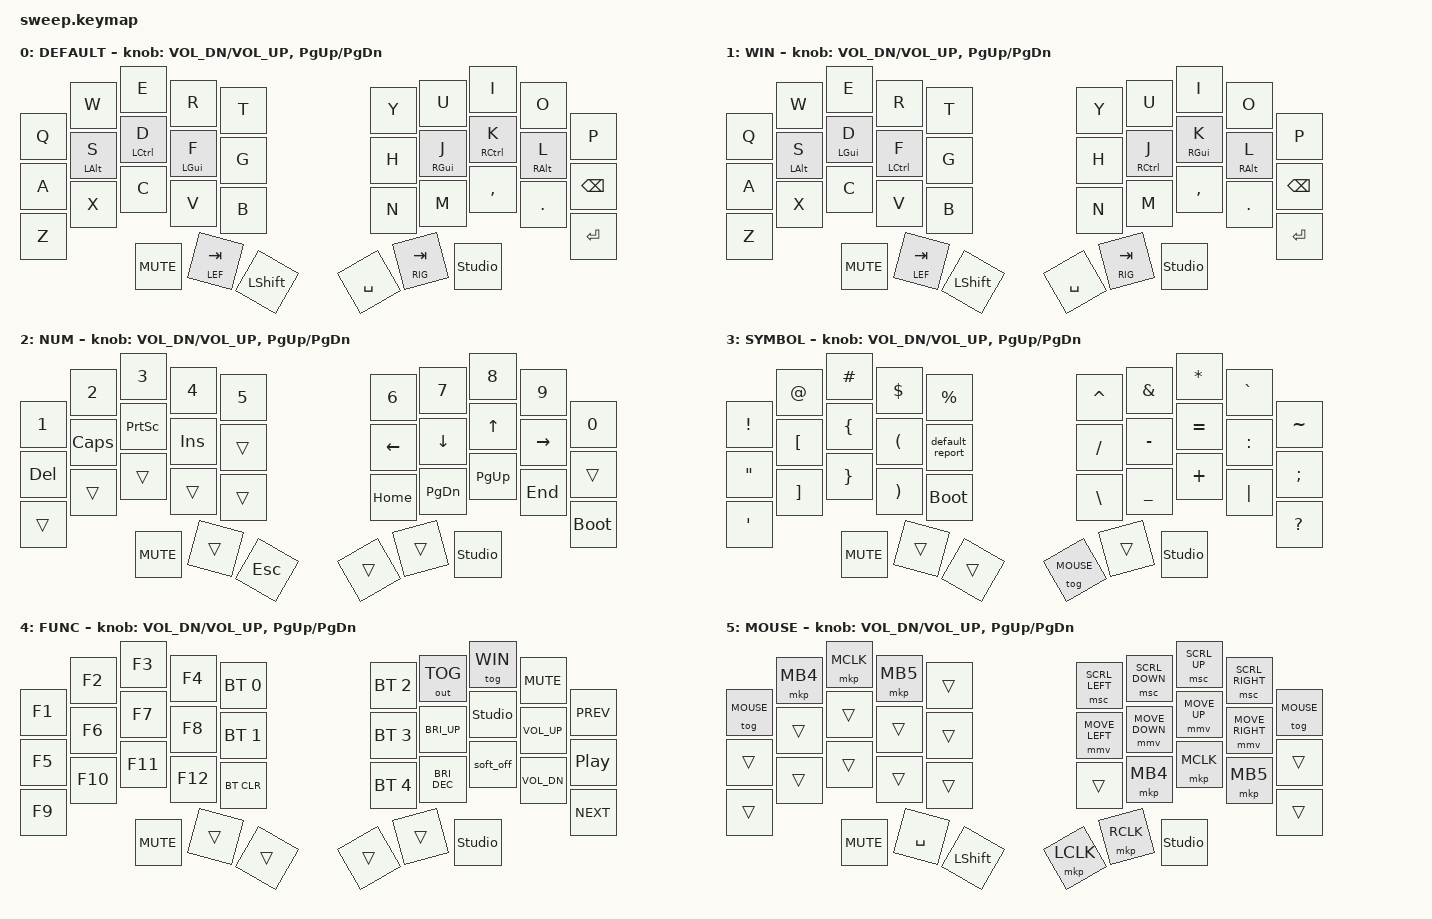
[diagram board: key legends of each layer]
// Copyright (c) 2022 The ZMK Contributors
// SPDX-License-Identifier: MIT
// #include <dt-bindings/zmk/rgb.h>

#define ZMK_POINTING_DEFAULT_MOVE_VAL 2500// 600
#define ZMK_POINTING_DEFAULT_SCRL_VAL 20// 10

#include <behaviors.dtsi>
#include <dt-bindings/zmk/bt.h>
#include <dt-bindings/zmk/keys.h>
#include <dt-bindings/zmk/outputs.h>
#include <dt-bindings/zmk/pointing.h>
#include "behaviors/character_map.dtsi"
#include "behaviors/report.dtsi"

#define MAC 0
#define WIN 1
#define RIG 2
#define LEF 3
#define TRI 4
#define MOUSE 5

&sensors {
	left_encoder {
		triggers-per-rotation = <15>;
	};
	right_encoder {
		triggers-per-rotation = <45>;
	};
};


/ {
	
	behaviors {
		ht: hold_tap {
			label = "hold_tap";
			compatible = "zmk,behavior-hold-tap";
			#binding-cells = <2>;
			flavor = "balanced";
			tapping-term-ms = <200>;
			quick-tap-ms = <150>;
			require-prior-idle-ms = <125>;
			global-quick-tap;
			bindings = <&kp>, <&kp>;
		};
		mmv {
			acceleration-exponent = <1>;// 1
			time-to-max-speed-ms = <300>;// 40
			delay-ms = <0>;// 0
		};
		msc {
			acceleration-exponent = <0>;// 0
			time-to-max-speed-ms = <40>;// 500
			delay-ms = <0>;// 10
		};
	};
	
	conditional_layers {
		compatible = "zmk,conditional-layers";
		
		tri_layer {
			if-layers = <RIG LEF>;
			then-layer = <TRI>;
		};
	};
	
	keymap {
		compatible = "zmk,keymap";
		
		default_layer {
			display-name = "DEFAULT";
			bindings = <
			&kp Q   &kp W       &kp E        &kp R        &kp T        &kp Y      &kp U        &kp I        &kp O       &kp P
			&kp A   &ht LALT S  &ht LCTRL D  &ht LGUI F   &kp G         &kp H      &ht RGUI J   &ht RCTRL K  &ht RALT L  &kp BSPC
			&kp Z   &kp X       &kp C        &kp V        &kp B         &kp N      &kp M        &kp COMMA    &kp DOT     &kp ENTER
			&kp C_MUTE  &lt LEF TAB  &kp LSHIFT    &kp SPACE  &lt RIG TAB   &studio_unlock
			>;
			sensor-bindings = <&inc_dec_kp C_VOL_DN C_VOL_UP &inc_dec_kp PG_UP PG_DN>;
		};
		
		windows_layer {
			display-name = "WIN";
			bindings = <
			&kp Q  &kp W       &kp E       &kp R        &kp T         &kp Y      &kp U        &kp I       &kp O       &kp P
			&kp A  &ht LALT S  &ht LGUI D  &ht LCTRL F  &kp G         &kp H      &ht RCTRL J  &ht RGUI K  &ht RALT L  &kp BSPC
			&kp Z  &kp X       &kp C       &kp V        &kp B         &kp N      &kp M        &kp COMMA   &kp DOT     &kp ENTER
			&kp C_MUTE  &lt LEF TAB  &kp LSHIFT     &kp SPACE &lt RIG TAB  &studio_unlock
			>;
			sensor-bindings = <&inc_dec_kp C_VOL_DN C_VOL_UP &inc_dec_kp PG_UP PG_DN>;
		};
		
		right_layer {
			display-name = "NUM";
			bindings = <
			&kp N1   &kp N2    &kp N3     &kp N4   &kp N5     &kp N6  &kp N7    &kp N8     &kp N9     &kp N0
			&kp DEL  &kp CAPS  &kp PSCRN  &kp INS  &trans     &kp LEFT  &kp DOWN   &kp UP  &kp RIGHT &trans
			&trans   &trans    &trans     &trans   &trans     &kp HOME  &kp PG_DN  &kp PG_UP  &kp END &bootloader
			&kp C_MUTE &trans   &kp ESC   &trans  &trans &studio_unlock
			>;
			sensor-bindings = <&inc_dec_kp C_VOL_DN C_VOL_UP &inc_dec_kp PG_UP PG_DN>;
		};
		
		left_layer {
			display-name = "SYMBOL";
			bindings = <
			&kp EXCL  &kp AT    &kp HASH  &kp DLLR  &kp PRCNT    &kp CARET  &kp AMPS   &kp ASTRK  &kp GRAVE  &kp TILDE
			&kp DQT   &kp LBKT  &kp LBRC  &kp LPAR  &default_report     &kp FSLH   &kp MINUS  &kp EQUAL  &kp COLON  &kp SEMI
			&kp SQT   &kp RBKT  &kp RBRC  &kp RPAR  &bootloader       &kp BSLH   &kp UNDER  &kp PLUS   &kp PIPE   &kp QMARK
			&kp C_MUTE &trans    &trans       &tog MOUSE     &trans  &studio_unlock
			>;
			sensor-bindings = <&inc_dec_kp C_VOL_DN C_VOL_UP &inc_dec_kp PG_UP PG_DN>;
		};
		
		tri_layer {
			display-name = "FUNC";
			bindings = <
			&kp F1  &kp F2   &kp F3   &kp F4   &bt BT_SEL 0    &bt BT_SEL 2  &out OUT_TOG   &tog WIN  &kp C_MUTE    &kp C_PREV
			&kp F5  &kp F6   &kp F7   &kp F8   &bt BT_SEL 1    &bt BT_SEL 3  &kp C_BRI_UP   &studio_unlock    &kp C_VOL_UP  &kp C_PP
			&kp F9  &kp F10  &kp F11  &kp F12  &bt BT_CLR      &bt BT_SEL 4  &kp C_BRI_DEC  &soft_off     &kp C_VOL_DN  &kp C_NEXT
			&kp C_MUTE  &trans   &trans          &trans        &trans  &studio_unlock
			>;
			sensor-bindings = <&inc_dec_kp C_VOL_DN C_VOL_UP &inc_dec_kp PG_UP PG_DN>;
		};
		mouse {
			display-name = "MOUSE";
			bindings = <
			&tog MOUSE  &mkp MB4  &mkp MCLK  &mkp MB5   &trans      &msc SCRL_LEFT     &msc SCRL_DOWN    &msc SCRL_UP     &msc SCRL_RIGHT    &tog MOUSE
			&trans      &trans    &trans     &trans     &trans      &mmv MOVE_LEFT     &mmv MOVE_DOWN    &mmv MOVE_UP     &mmv MOVE_RIGHT    &trans
			&trans      &trans    &trans     &trans     &trans      &trans     &mkp MB4  &mkp MCLK  &mkp MB5  &trans
			&kp C_MUTE &kp SPACE  &kp LSHIFT  &mkp LCLK  &mkp RCLK &studio_unlock
			>;
			sensor-bindings = <&inc_dec_kp C_VOL_DN C_VOL_UP &inc_dec_kp PG_UP PG_DN>;
		};
	};
};
